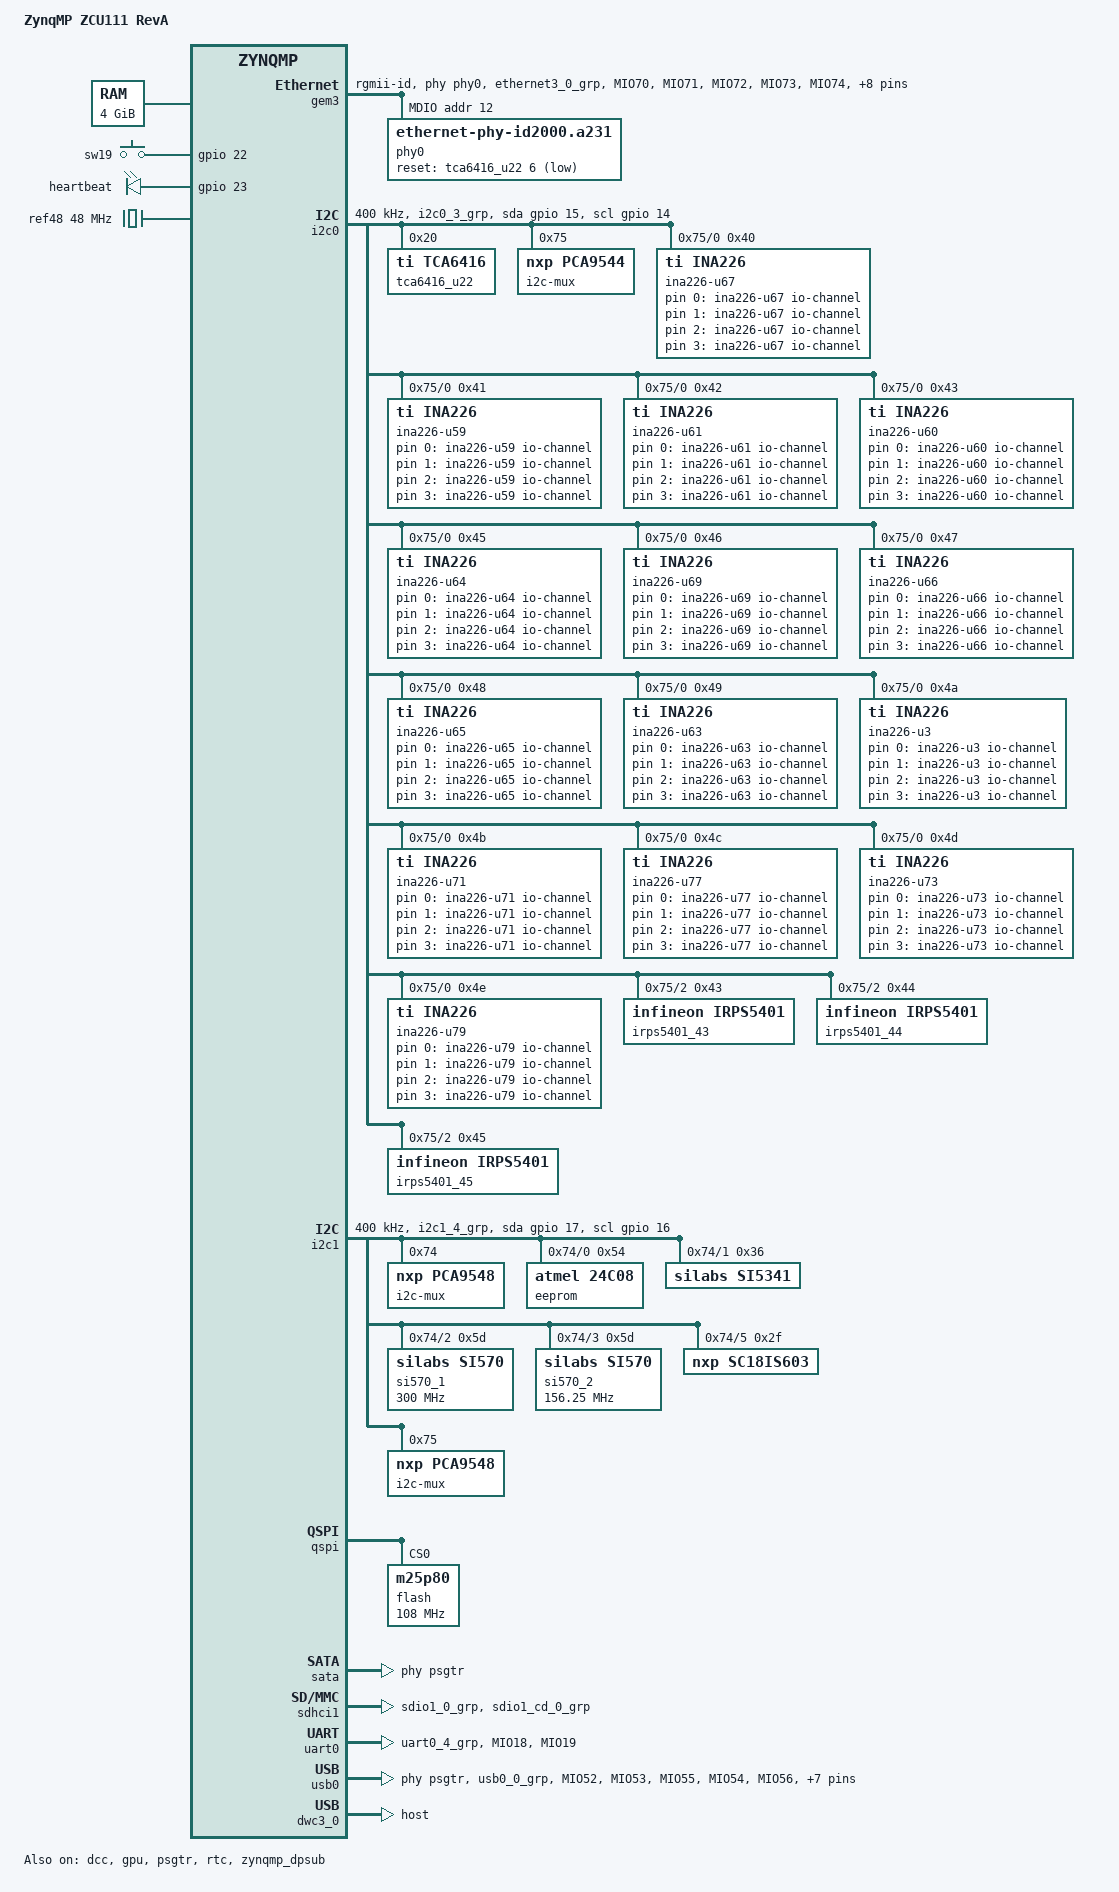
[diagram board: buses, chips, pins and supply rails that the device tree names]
// SPDX-License-Identifier: GPL-2.0+
/*
 * dts file for Xilinx ZynqMP ZCU111
 *
 * (C) Copyright 2017 - 2022, Xilinx, Inc.
 * (C) Copyright 2022 - 2023, Advanced Micro Devices, Inc.
 *
 * Michal Simek <michal.simek@amd.com>
 */

/dts-v1/;

#include "zynqmp.dtsi"
#include "zynqmp-clk-ccf.dtsi"
#include <dt-bindings/input/input.h>
#include <dt-bindings/gpio/gpio.h>
#include <dt-bindings/pinctrl/pinctrl-zynqmp.h>
#include <dt-bindings/phy/phy.h>

/ {
	model = "ZynqMP ZCU111 RevA";
	compatible = "xlnx,zynqmp-zcu111-revA", "xlnx,zynqmp-zcu111", "xlnx,zynqmp";

	aliases {
		ethernet0 = &gem3;
		i2c0 = &i2c0;
		i2c1 = &i2c1;
		mmc0 = &sdhci1;
		nvmem0 = &eeprom;
		rtc0 = &rtc;
		serial0 = &uart0;
		serial1 = &dcc;
		spi0 = &qspi;
		usb0 = &usb0;
	};

	chosen {
		bootargs = "earlycon";
		stdout-path = "serial0:115200n8";
	};

	memory@0 {
		device_type = "memory";
		reg = <0x0 0x0 0x0 0x80000000>, <0x8 0x00000000 0x0 0x80000000>;
		/* Another 4GB connected to PL */
	};

	gpio-keys {
		compatible = "gpio-keys";
		autorepeat;
		switch-19 {
			label = "sw19";
			gpios = <&gpio 22 GPIO_ACTIVE_HIGH>;
			linux,code = <KEY_DOWN>;
			wakeup-source;
			autorepeat;
		};
	};

	leds {
		compatible = "gpio-leds";
		heartbeat-led {
			label = "heartbeat";
			gpios = <&gpio 23 GPIO_ACTIVE_HIGH>;
			linux,default-trigger = "heartbeat";
		};
	};

	ina226-u67 {
		compatible = "iio-hwmon";
		io-channels = <&u67 0>, <&u67 1>, <&u67 2>, <&u67 3>;
	};
	ina226-u59 {
		compatible = "iio-hwmon";
		io-channels = <&u59 0>, <&u59 1>, <&u59 2>, <&u59 3>;
	};
	ina226-u61 {
		compatible = "iio-hwmon";
		io-channels = <&u61 0>, <&u61 1>, <&u61 2>, <&u61 3>;
	};
	ina226-u60 {
		compatible = "iio-hwmon";
		io-channels = <&u60 0>, <&u60 1>, <&u60 2>, <&u60 3>;
	};
	ina226-u64 {
		compatible = "iio-hwmon";
		io-channels = <&u64 0>, <&u64 1>, <&u64 2>, <&u64 3>;
	};
	ina226-u69 {
		compatible = "iio-hwmon";
		io-channels = <&u69 0>, <&u69 1>, <&u69 2>, <&u69 3>;
	};
	ina226-u66 {
		compatible = "iio-hwmon";
		io-channels = <&u66 0>, <&u66 1>, <&u66 2>, <&u66 3>;
	};
	ina226-u65 {
		compatible = "iio-hwmon";
		io-channels = <&u65 0>, <&u65 1>, <&u65 2>, <&u65 3>;
	};
	ina226-u63 {
		compatible = "iio-hwmon";
		io-channels = <&u63 0>, <&u63 1>, <&u63 2>, <&u63 3>;
	};
	ina226-u3 {
		compatible = "iio-hwmon";
		io-channels = <&u3 0>, <&u3 1>, <&u3 2>, <&u3 3>;
	};
	ina226-u71 {
		compatible = "iio-hwmon";
		io-channels = <&u71 0>, <&u71 1>, <&u71 2>, <&u71 3>;
	};
	ina226-u77 {
		compatible = "iio-hwmon";
		io-channels = <&u77 0>, <&u77 1>, <&u77 2>, <&u77 3>;
	};
	ina226-u73 {
		compatible = "iio-hwmon";
		io-channels = <&u73 0>, <&u73 1>, <&u73 2>, <&u73 3>;
	};
	ina226-u79 {
		compatible = "iio-hwmon";
		io-channels = <&u79 0>, <&u79 1>, <&u79 2>, <&u79 3>;
	};

	/* 48MHz reference crystal */
	ref48: ref48M {
		compatible = "fixed-clock";
		#clock-cells = <0>;
		clock-frequency = <48000000>;
	};
};

&dcc {
	status = "okay";
};

&fpd_dma_chan1 {
	status = "okay";
};

&fpd_dma_chan2 {
	status = "okay";
};

&fpd_dma_chan3 {
	status = "okay";
};

&fpd_dma_chan4 {
	status = "okay";
};

&fpd_dma_chan5 {
	status = "okay";
};

&fpd_dma_chan6 {
	status = "okay";
};

&fpd_dma_chan7 {
	status = "okay";
};

&fpd_dma_chan8 {
	status = "okay";
};

&gem3 {
	status = "okay";
	phy-handle = <&phy0>;
	phy-mode = "rgmii-id";
	pinctrl-names = "default";
	pinctrl-0 = <&pinctrl_gem3_default>;
	mdio: mdio {
		#address-cells = <1>;
		#size-cells = <0>;
		phy0: ethernet-phy@c {
			#phy-cells = <1>;
			compatible = "ethernet-phy-id2000.a231";
			reg = <0xc>;
			ti,rx-internal-delay = <0x8>;
			ti,tx-internal-delay = <0xa>;
			ti,fifo-depth = <0x1>;
			ti,dp83867-rxctrl-strap-quirk;
			reset-gpios = <&tca6416_u22 6 GPIO_ACTIVE_LOW>;
		};
	};
};

&gpio {
	status = "okay";
	pinctrl-names = "default";
	pinctrl-0 = <&pinctrl_gpio_default>;
};

&gpu {
	status = "okay";
};

&i2c0 {
	status = "okay";
	clock-frequency = <400000>;
	pinctrl-names = "default", "gpio";
	pinctrl-0 = <&pinctrl_i2c0_default>;
	pinctrl-1 = <&pinctrl_i2c0_gpio>;
	scl-gpios = <&gpio 14 (GPIO_ACTIVE_HIGH | GPIO_OPEN_DRAIN)>;
	sda-gpios = <&gpio 15 (GPIO_ACTIVE_HIGH | GPIO_OPEN_DRAIN)>;

	tca6416_u22: gpio@20 {
		compatible = "ti,tca6416";
		reg = <0x20>;
		gpio-controller; /* interrupt not connected */
		#gpio-cells = <2>;
		/*
		 * IRQ not connected
		 * Lines:
		 * 0 - MAX6643_OT_B
		 * 1 - MAX6643_FANFAIL_B
		 * 2 - MIO26_PMU_INPUT_LS
		 * 4 - SFP_SI5382_INT_ALM
		 * 5 - IIC_MUX_RESET_B
		 * 6 - GEM3_EXP_RESET_B
		 * 10 - FMCP_HSPC_PRSNT_M2C_B
		 * 11 - CLK_SPI_MUX_SEL0
		 * 12 - CLK_SPI_MUX_SEL1
		 * 16 - IRPS5401_ALERT_B
		 * 17 - INA226_PMBUS_ALERT
		 * 3, 7, 13-15 - not connected
		 */
	};

	i2c-mux@75 { /* u23 */
		compatible = "nxp,pca9544";
		#address-cells = <1>;
		#size-cells = <0>;
		reg = <0x75>;
		i2c@0 {
			#address-cells = <1>;
			#size-cells = <0>;
			reg = <0>;
			/* PS_PMBUS */
			/* PMBUS_ALERT done via pca9544 */
			u67: ina226@40 { /* u67 */
				compatible = "ti,ina226";
				#io-channel-cells = <1>;
				label = "ina226-u67";
				reg = <0x40>;
				shunt-resistor = <2000>;
			};
			u59: ina226@41 { /* u59 */
				compatible = "ti,ina226";
				#io-channel-cells = <1>;
				label = "ina226-u59";
				reg = <0x41>;
				shunt-resistor = <5000>;
			};
			u61: ina226@42 { /* u61 */
				compatible = "ti,ina226";
				#io-channel-cells = <1>;
				label = "ina226-u61";
				reg = <0x42>;
				shunt-resistor = <5000>;
			};
			u60: ina226@43 { /* u60 */
				compatible = "ti,ina226";
				#io-channel-cells = <1>;
				label = "ina226-u60";
				reg = <0x43>;
				shunt-resistor = <5000>;
			};
			u64: ina226@45 { /* u64 */
				compatible = "ti,ina226";
				#io-channel-cells = <1>;
				label = "ina226-u64";
				reg = <0x45>;
				shunt-resistor = <5000>;
			};
			u69: ina226@46 { /* u69 */
				compatible = "ti,ina226";
				#io-channel-cells = <1>;
				label = "ina226-u69";
				reg = <0x46>;
				shunt-resistor = <2000>;
			};
			u66: ina226@47 { /* u66 */
				compatible = "ti,ina226";
				#io-channel-cells = <1>;
				label = "ina226-u66";
				reg = <0x47>;
				shunt-resistor = <5000>;
			};
			u65: ina226@48 { /* u65 */
				compatible = "ti,ina226";
				#io-channel-cells = <1>;
				label = "ina226-u65";
				reg = <0x48>;
				shunt-resistor = <5000>;
			};
			u63: ina226@49 { /* u63 */
				compatible = "ti,ina226";
				#io-channel-cells = <1>;
				label = "ina226-u63";
				reg = <0x49>;
				shunt-resistor = <5000>;
			};
			u3: ina226@4a { /* u3 */
				compatible = "ti,ina226";
				#io-channel-cells = <1>;
				label = "ina226-u3";
				reg = <0x4a>;
				shunt-resistor = <5000>;
			};
			u71: ina226@4b { /* u71 */
				compatible = "ti,ina226";
				#io-channel-cells = <1>;
				label = "ina226-u71";
				reg = <0x4b>;
				shunt-resistor = <5000>;
			};
			u77: ina226@4c { /* u77 */
				compatible = "ti,ina226";
				#io-channel-cells = <1>;
				label = "ina226-u77";
				reg = <0x4c>;
				shunt-resistor = <5000>;
			};
			u73: ina226@4d { /* u73 */
				compatible = "ti,ina226";
				#io-channel-cells = <1>;
				label = "ina226-u73";
				reg = <0x4d>;
				shunt-resistor = <5000>;
			};
			u79: ina226@4e { /* u79 */
				compatible = "ti,ina226";
				#io-channel-cells = <1>;
				label = "ina226-u79";
				reg = <0x4e>;
				shunt-resistor = <5000>;
			};
		};
		i2c@1 {
			#address-cells = <1>;
			#size-cells = <0>;
			reg = <1>;
			/* NC */
		};
		i2c@2 {
			#address-cells = <1>;
			#size-cells = <0>;
			reg = <2>;
			irps5401_43: irps5401@43 { /* IRPS5401 - u53 check these */
				compatible = "infineon,irps5401";
				reg = <0x43>;
			};
			irps5401_44: irps5401@44 { /* IRPS5401 - u55 */
				compatible = "infineon,irps5401";
				reg = <0x44>;
			};
			irps5401_45: irps5401@45 { /* IRPS5401 - u57 */
				compatible = "infineon,irps5401";
				reg = <0x45>;
			};
			/* u68 IR38064 +0 */
			/* u70 IR38060 +1 */
			/* u74 IR38060 +2 */
			/* u75 IR38060 +6 */
			/* J19 header too */

		};
		i2c@3 {
			#address-cells = <1>;
			#size-cells = <0>;
			reg = <3>;
			/* SYSMON */
		};
	};
};

&i2c1 {
	status = "okay";
	clock-frequency = <400000>;
	pinctrl-names = "default", "gpio";
	pinctrl-0 = <&pinctrl_i2c1_default>;
	pinctrl-1 = <&pinctrl_i2c1_gpio>;
	scl-gpios = <&gpio 16 (GPIO_ACTIVE_HIGH | GPIO_OPEN_DRAIN)>;
	sda-gpios = <&gpio 17 (GPIO_ACTIVE_HIGH | GPIO_OPEN_DRAIN)>;

	i2c-mux@74 { /* u26 */
		compatible = "nxp,pca9548";
		#address-cells = <1>;
		#size-cells = <0>;
		reg = <0x74>;
		i2c@0 {
			#address-cells = <1>;
			#size-cells = <0>;
			reg = <0>;
			/*
			 * IIC_EEPROM 1kB memory which uses 256B blocks
			 * where every block has different address.
			 *    0 - 256B address 0x54
			 * 256B - 512B address 0x55
			 * 512B - 768B address 0x56
			 * 768B - 1024B address 0x57
			 */
			eeprom: eeprom@54 { /* u88 */
				compatible = "atmel,24c08";
				reg = <0x54>;
			};
		};
		i2c@1 {
			#address-cells = <1>;
			#size-cells = <0>;
			reg = <1>;
			si5341: clock-generator@36 { /* SI5341 - u46 */
				compatible = "silabs,si5341";
				reg = <0x36>;
				#clock-cells = <2>;
				#address-cells = <1>;
				#size-cells = <0>;
				clocks = <&ref48>;
				clock-names = "xtal";
				clock-output-names = "si5341";

				si5341_0: out@0 {
					/* refclk0 for PS-GT, used for DP */
					reg = <0>;
					always-on;
				};
				si5341_2: out@2 {
					/* refclk2 for PS-GT, used for USB3 */
					reg = <2>;
					always-on;
				};
				si5341_3: out@3 {
					/* refclk3 for PS-GT, used for SATA */
					reg = <3>;
					always-on;
				};
				si5341_5: out@5 {
					/* refclk5 PL CLK100 */
					reg = <5>;
					always-on;
				};
				si5341_6: out@6 {
					/* refclk6 PL CLK125 */
					reg = <6>;
					always-on;
				};
				si5341_9: out@9 {
					/* refclk9 used for PS_REF_CLK 33.3 MHz */
					reg = <9>;
					always-on;
				};
			};
		};
		i2c@2 {
			#address-cells = <1>;
			#size-cells = <0>;
			reg = <2>;
			si570_1: clock-generator@5d { /* USER SI570 - u47 */
				#clock-cells = <0>;
				compatible = "silabs,si570";
				reg = <0x5d>;
				temperature-stability = <50>;
				factory-fout = <300000000>;
				clock-frequency = <300000000>;
				clock-output-names = "si570_user";
			};
		};
		i2c@3 {
			#address-cells = <1>;
			#size-cells = <0>;
			reg = <3>;
			si570_2: clock-generator@5d { /* USER MGT SI570 - u49 */
				#clock-cells = <0>;
				compatible = "silabs,si570";
				reg = <0x5d>;
				temperature-stability = <50>;
				factory-fout = <156250000>;
				clock-frequency = <156250000>;
				clock-output-names = "si570_mgt";
			};
		};
		i2c@4 {
			#address-cells = <1>;
			#size-cells = <0>;
			reg = <4>;
			/* SI5382 - u48 */
		};
		i2c@5 {
			#address-cells = <1>;
			#size-cells = <0>;
			reg = <5>;
				sc18is603@2f { /* sc18is602 - u93 */
					compatible = "nxp,sc18is603";
					reg = <0x2f>;
					/* 4 gpios for CS not handled by driver */
					/*
					 * USB2ANY cable or
					 * LMK04208 - u90 or
					 * LMX2594 - u102 or
					 * LMX2594 - u103 or
					 * LMX2594 - u104
					 */
				};
		};
		i2c@6 {
			#address-cells = <1>;
			#size-cells = <0>;
			reg = <6>;
			/* FMC connector */
		};
		/* 7 NC */
	};

	i2c-mux@75 {
		compatible = "nxp,pca9548"; /* u27 */
		#address-cells = <1>;
		#size-cells = <0>;
		reg = <0x75>;

		i2c@0 {
			#address-cells = <1>;
			#size-cells = <0>;
			reg = <0>;
			/* FMCP_HSPC_IIC */
		};
		i2c@1 {
			#address-cells = <1>;
			#size-cells = <0>;
			reg = <1>;
			/* NC */
		};
		i2c@2 {
			#address-cells = <1>;
			#size-cells = <0>;
			reg = <2>;
			/* SYSMON */
		};
		i2c@3 {
			#address-cells = <1>;
			#size-cells = <0>;
			reg = <3>;
			/* DDR4 SODIMM */
		};
		i2c@4 {
			#address-cells = <1>;
			#size-cells = <0>;
			reg = <4>;
			/* SFP3 */
		};
		i2c@5 {
			#address-cells = <1>;
			#size-cells = <0>;
			reg = <5>;
			/* SFP2 */
		};
		i2c@6 {
			#address-cells = <1>;
			#size-cells = <0>;
			reg = <6>;
			/* SFP1 */
		};
		i2c@7 {
			#address-cells = <1>;
			#size-cells = <0>;
			reg = <7>;
			/* SFP0 */
		};
	};
};

&pinctrl0 {
	status = "okay";
	pinctrl_i2c0_default: i2c0-default {
		mux {
			groups = "i2c0_3_grp";
			function = "i2c0";
		};

		conf {
			groups = "i2c0_3_grp";
			bias-pull-up;
			slew-rate = <SLEW_RATE_SLOW>;
			power-source = <IO_STANDARD_LVCMOS18>;
		};
	};

	pinctrl_i2c0_gpio: i2c0-gpio {
		mux {
			groups = "gpio0_14_grp", "gpio0_15_grp";
			function = "gpio0";
		};

		conf {
			groups = "gpio0_14_grp", "gpio0_15_grp";
			slew-rate = <SLEW_RATE_SLOW>;
			power-source = <IO_STANDARD_LVCMOS18>;
		};
	};

	pinctrl_i2c1_default: i2c1-default {
		mux {
			groups = "i2c1_4_grp";
			function = "i2c1";
		};

		conf {
			groups = "i2c1_4_grp";
			bias-pull-up;
			slew-rate = <SLEW_RATE_SLOW>;
			power-source = <IO_STANDARD_LVCMOS18>;
		};
	};

	pinctrl_i2c1_gpio: i2c1-gpio {
		mux {
			groups = "gpio0_16_grp", "gpio0_17_grp";
			function = "gpio0";
		};

		conf {
			groups = "gpio0_16_grp", "gpio0_17_grp";
			slew-rate = <SLEW_RATE_SLOW>;
			power-source = <IO_STANDARD_LVCMOS18>;
		};
	};

	pinctrl_uart0_default: uart0-default {
		mux {
			groups = "uart0_4_grp";
			function = "uart0";
		};

		conf {
			groups = "uart0_4_grp";
			slew-rate = <SLEW_RATE_SLOW>;
			power-source = <IO_STANDARD_LVCMOS18>;
		};

		conf-rx {
			pins = "MIO18";
			bias-high-impedance;
		};

		conf-tx {
			pins = "MIO19";
			bias-disable;
		};
	};

	pinctrl_usb0_default: usb0-default {
		mux {
			groups = "usb0_0_grp";
			function = "usb0";
		};

		conf {
			groups = "usb0_0_grp";
			power-source = <IO_STANDARD_LVCMOS18>;
		};

		conf-rx {
			pins = "MIO52", "MIO53", "MIO55";
			bias-high-impedance;
			drive-strength = <12>;
			slew-rate = <SLEW_RATE_FAST>;
		};

		conf-tx {
			pins = "MIO54", "MIO56", "MIO57", "MIO58", "MIO59",
			       "MIO60", "MIO61", "MIO62", "MIO63";
			bias-disable;
			drive-strength = <4>;
			slew-rate = <SLEW_RATE_SLOW>;
		};
	};

	pinctrl_gem3_default: gem3-default {
		mux {
			function = "ethernet3";
			groups = "ethernet3_0_grp";
		};

		conf {
			groups = "ethernet3_0_grp";
			slew-rate = <SLEW_RATE_SLOW>;
			power-source = <IO_STANDARD_LVCMOS18>;
		};

		conf-rx {
			pins = "MIO70", "MIO71", "MIO72", "MIO73", "MIO74",
									"MIO75";
			bias-high-impedance;
			low-power-disable;
		};

		conf-tx {
			pins = "MIO64", "MIO65", "MIO66", "MIO67", "MIO68",
									"MIO69";
			bias-disable;
			low-power-enable;
		};

		mux-mdio {
			function = "mdio3";
			groups = "mdio3_0_grp";
		};

		conf-mdio {
			groups = "mdio3_0_grp";
			slew-rate = <SLEW_RATE_SLOW>;
			power-source = <IO_STANDARD_LVCMOS18>;
			bias-disable;
		};
	};

	pinctrl_sdhci1_default: sdhci1-default {
		mux {
			groups = "sdio1_0_grp";
			function = "sdio1";
		};

		conf {
			groups = "sdio1_0_grp";
			slew-rate = <SLEW_RATE_SLOW>;
			power-source = <IO_STANDARD_LVCMOS18>;
			bias-disable;
		};

		mux-cd {
			groups = "sdio1_cd_0_grp";
			function = "sdio1_cd";
		};

		conf-cd {
			groups = "sdio1_cd_0_grp";
			bias-high-impedance;
			bias-pull-up;
			slew-rate = <SLEW_RATE_SLOW>;
			power-source = <IO_STANDARD_LVCMOS18>;
		};
	};

	pinctrl_gpio_default: gpio-default {
		mux {
			function = "gpio0";
			groups = "gpio0_22_grp", "gpio0_23_grp";
		};

		conf {
			groups = "gpio0_22_grp", "gpio0_23_grp";
			slew-rate = <SLEW_RATE_SLOW>;
			power-source = <IO_STANDARD_LVCMOS18>;
		};

		mux-msp {
			function = "gpio0";
			groups = "gpio0_13_grp", "gpio0_38_grp";
		};

		conf-msp {
			groups = "gpio0_13_grp", "gpio0_38_grp";
			slew-rate = <SLEW_RATE_SLOW>;
			power-source = <IO_STANDARD_LVCMOS18>;
		};

		conf-pull-up {
			pins = "MIO22";
			bias-pull-up;
		};

		conf-pull-none {
			pins = "MIO13", "MIO23", "MIO38";
			bias-disable;
		};
	};
};

&psgtr {
	status = "okay";
	/* nc, dp, usb3, sata */
	clocks = <&si5341 0 0>, <&si5341 0 2>, <&si5341 0 3>;
	clock-names = "ref1", "ref2", "ref3";
};

&qspi {
	status = "okay";
	flash@0 {
		compatible = "m25p80", "jedec,spi-nor"; /* 16MB + 16MB */
		#address-cells = <1>;
		#size-cells = <1>;
		reg = <0x0>;
		spi-tx-bus-width = <4>;
		spi-rx-bus-width = <4>; /* FIXME also DUAL configuration possible */
		spi-max-frequency = <108000000>; /* Based on DC1 spec */
	};
};

&rtc {
	status = "okay";
};

&sata {
	status = "okay";
	/* SATA OOB timing settings */
	ceva,p0-cominit-params = /bits/ 8 <0x18 0x40 0x18 0x28>;
	ceva,p0-comwake-params = /bits/ 8 <0x06 0x14 0x08 0x0E>;
	ceva,p0-burst-params = /bits/ 8 <0x13 0x08 0x4A 0x06>;
	ceva,p0-retry-params = /bits/ 16 <0x96A4 0x3FFC>;
	ceva,p1-cominit-params = /bits/ 8 <0x18 0x40 0x18 0x28>;
	ceva,p1-comwake-params = /bits/ 8 <0x06 0x14 0x08 0x0E>;
	ceva,p1-burst-params = /bits/ 8 <0x13 0x08 0x4A 0x06>;
	ceva,p1-retry-params = /bits/ 16 <0x96A4 0x3FFC>;
	phy-names = "sata-phy";
	phys = <&psgtr 3 PHY_TYPE_SATA 1 3>;
};

/* SD1 with level shifter */
&sdhci1 {
	status = "okay";
	pinctrl-names = "default";
	pinctrl-0 = <&pinctrl_sdhci1_default>;
	disable-wp;
	/*
	 * This property should be removed for supporting UHS mode
	 */
	no-1-8-v;
	xlnx,mio-bank = <1>;
};

&uart0 {
	status = "okay";
	pinctrl-names = "default";
	pinctrl-0 = <&pinctrl_uart0_default>;
};

/* ULPI SMSC USB3320 */
&usb0 {
	status = "okay";
	pinctrl-names = "default";
	pinctrl-0 = <&pinctrl_usb0_default>;
	phy-names = "usb3-phy";
	phys = <&psgtr 2 PHY_TYPE_USB3 0 2>;
};

&dwc3_0 {
	status = "okay";
	dr_mode = "host";
	snps,usb3_lpm_capable;
	maximum-speed = "super-speed";
};

&zynqmp_dpdma {
	status = "okay";
};

&zynqmp_dpsub {
	status = "okay";
	phy-names = "dp-phy0", "dp-phy1";
	phys = <&psgtr 1 PHY_TYPE_DP 0 1>,
	       <&psgtr 0 PHY_TYPE_DP 1 1>;
};
